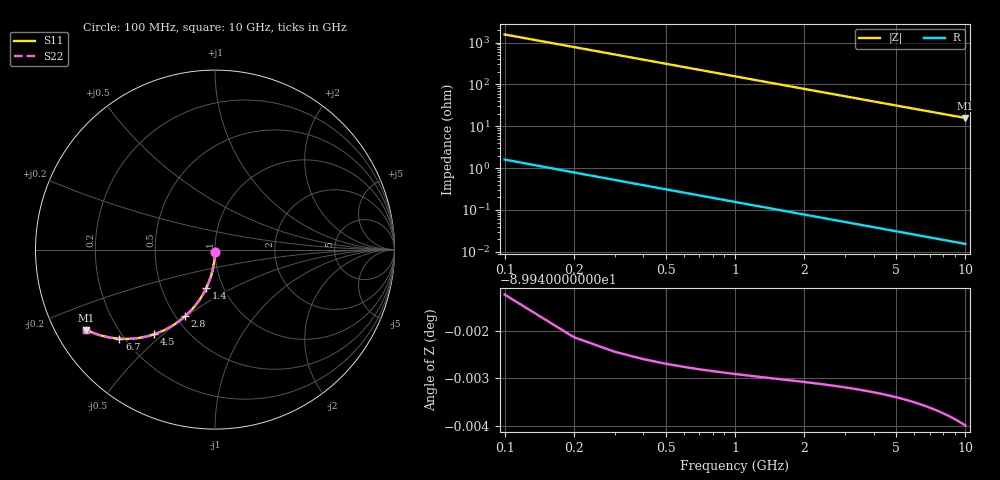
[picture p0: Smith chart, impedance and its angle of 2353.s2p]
# Hz S RI R 50.00
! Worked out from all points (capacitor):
!   100 points, 100 MHz to 10 GHz, reference 50 ohm
!   read as one part in shunt: C = 1.02 pF near 100 MHz
!   lowest |Z| = 15.8 ohm at 10 GHz (marker M1)
!   S11 on the Smith chart (normalised r, x): 100 MHz: 1.00, -0.03; 1.4 GHz: 0.83, -0.37; 2.8 GHz: 0.56, -0.50; 4.5 GHz: 0.33, -0.47; 6.7 GHz: 0.18, -0.38; 10 GHz: 0.09, -0.28
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1e8  -0.00026 -0.016  0.9997 -0.016  0.9997 -0.016  -0.00026 -0.016
2e8  -0.00104 -0.0319  0.9989 -0.032  0.9989 -0.032  -0.00104 -0.0319
3e8  -0.00233 -0.0478  0.9976 -0.048  0.9976 -0.048  -0.00233 -0.0478
4e8  -0.00413 -0.0636  0.9958 -0.0638  0.9958 -0.0638  -0.00413 -0.0636
5e8  -0.00642 -0.0793  0.9935 -0.0796  0.9935 -0.0796  -0.00642 -0.0793
6e8  -0.00921 -0.0949  0.9908 -0.0953  0.9908 -0.0953  -0.00921 -0.0949
7e8  -0.0125 -0.1104  0.9875 -0.1108  0.9875 -0.1108  -0.0125 -0.1104
9e8  -0.0204 -0.1407  0.9795 -0.1413  0.9795 -0.1413  -0.0204 -0.1407
1.1e9  -0.0302 -0.1703  0.9698 -0.1709  0.9698 -0.1709  -0.0302 -0.1703
1.4e9  -0.0479 -0.2127  0.9521 -0.2135  0.9521 -0.2135  -0.0479 -0.2127
1.8e9  -0.0767 -0.2651  0.9233 -0.2662  0.9233 -0.2662  -0.0767 -0.2651
2.3e9  -0.1193 -0.3229  0.8807 -0.3243  0.8807 -0.3243  -0.1193 -0.3229
2.8e9  -0.167 -0.3716  0.833 -0.3733  0.833 -0.3733  -0.167 -0.3716
3.4e9  -0.2279 -0.4179  0.7721 -0.42  0.7721 -0.42  -0.2279 -0.4179
3.9e9  -0.2795 -0.4471  0.7205 -0.4494  0.7205 -0.4494  -0.2795 -0.4471
4.5e9  -0.3402 -0.4719  0.6597 -0.4746  0.6597 -0.4746  -0.3402 -0.4719
5.1e9  -0.3981 -0.4875  0.6018 -0.4906  0.6018 -0.4906  -0.3981 -0.4875
5.9e9  -0.4692 -0.4968  0.5308 -0.5003  0.5308 -0.5003  -0.4692 -0.4968
6.7e9  -0.5323 -0.4964  0.4677 -0.5005  0.4677 -0.5005  -0.5323 -0.4964
7.5e9  -0.5875 -0.4895  0.4125 -0.4941  0.4125 -0.4941  -0.5875 -0.4895
8.4e9  -0.6408 -0.4767  0.3592 -0.4818  0.3592 -0.4818  -0.6408 -0.4767
1e10  -0.7161 -0.4473  0.2839 -0.4535  0.2839 -0.4535  -0.7161 -0.4473
